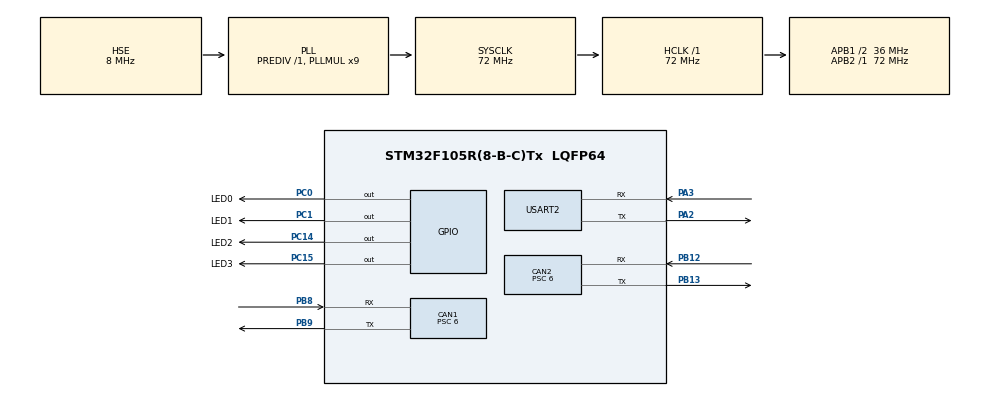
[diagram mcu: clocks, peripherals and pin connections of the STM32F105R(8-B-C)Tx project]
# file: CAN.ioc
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CAN1.BS1=CAN_BS1_3TQ
CAN1.BS2=CAN_BS2_2TQ
CAN1.CalculateTimeBit=1000
CAN1.CalculateTimeQuantum=166.66666666666669
CAN1.Prescaler=6
CAN2.BS1=CAN_BS1_3TQ
CAN2.BS2=CAN_BS2_2TQ
CAN2.CalculateTimeBit=1000
CAN2.CalculateTimeQuantum=166.66666666666669
CAN2.Prescaler=6
Mcu.Family=STM32F1
Mcu.Name=STM32F105R(8-B-C)Tx
Mcu.Package=LQFP64
NVIC.CAN1_RX0_IRQn=true\:0\:0\:false\:false\:true\:true\:true
NVIC.CAN1_RX1_IRQn=true\:0\:0\:false\:false\:true\:true\:true
NVIC.CAN1_SCE_IRQn=true\:0\:0\:false\:false\:true\:true\:true
NVIC.CAN1_TX_IRQn=true\:0\:0\:false\:false\:true\:true\:true
NVIC.CAN2_RX0_IRQn=true\:0\:0\:false\:false\:true\:true\:true
NVIC.CAN2_RX1_IRQn=true\:0\:0\:false\:false\:true\:true\:true
NVIC.CAN2_SCE_IRQn=true\:0\:0\:false\:false\:true\:true\:true
NVIC.CAN2_TX_IRQn=true\:0\:0\:false\:false\:true\:true\:true
NVIC.PriorityGroup=NVIC_PRIORITYGROUP_4
PA13.Mode=Serial_Wire
PA13.Signal=SYS_JTMS-SWDIO
PA14.Mode=Serial_Wire
PA14.Signal=SYS_JTCK-SWCLK
PA2.Mode=Asynchronous
PA2.Signal=USART2_TX
PA3.Mode=Asynchronous
PA3.Signal=USART2_RX
PB12.Mode=Slave
PB12.Signal=CAN2_RX
PB13.Mode=Slave
PB13.Signal=CAN2_TX
PB8.Mode=Master
PB8.Signal=CAN1_RX
PB9.Mode=Master
PB9.Signal=CAN1_TX
PC0.GPIO_Label=LED0
PC0.GPIO_ModeDefaultOutputPP=GPIO_MODE_OUTPUT_PP
PC0.GPIO_PuPd=GPIO_NOPULL
PC0.GPIO_Speed=GPIO_SPEED_FREQ_HIGH
PC0.PinState=GPIO_PIN_SET
PC0.Signal=GPIO_Output
PC1.GPIO_Label=LED1
PC1.GPIO_ModeDefaultOutputPP=GPIO_MODE_OUTPUT_PP
PC1.GPIO_PuPd=GPIO_NOPULL
PC1.GPIO_Speed=GPIO_SPEED_FREQ_HIGH
PC1.PinState=GPIO_PIN_SET
PC1.Signal=GPIO_Output
PC14-OSC32_IN.GPIO_Label=LED2
PC14-OSC32_IN.GPIO_Speed=GPIO_SPEED_FREQ_HIGH
PC14-OSC32_IN.PinState=GPIO_PIN_SET
PC14-OSC32_IN.Signal=GPIO_Output
PC15-OSC32_OUT.GPIO_Label=LED3
PC15-OSC32_OUT.GPIO_ModeDefaultOutputPP=GPIO_MODE_OUTPUT_PP
PC15-OSC32_OUT.GPIO_PuPd=GPIO_NOPULL
PC15-OSC32_OUT.GPIO_Speed=GPIO_SPEED_FREQ_HIGH
PC15-OSC32_OUT.PinState=GPIO_PIN_SET
PC15-OSC32_OUT.Signal=GPIO_Output
PD0-OSC_IN.Mode=HSE-External-Oscillator
PD0-OSC_IN.Signal=RCC_OSC_IN
PD1-OSC_OUT.Mode=HSE-External-Oscillator
PD1-OSC_OUT.Signal=RCC_OSC_OUT
ProjectManager.HeapSize=0x200
ProjectManager.StackSize=0x400
ProjectManager.TargetToolchain=MDK-ARM V5.27
RCC.AHBFreq_Value=72000000
RCC.APB1CLKDivider=RCC_HCLK_DIV2
RCC.APB1Freq_Value=36000000
RCC.APB1TimFreq_Value=72000000
RCC.APB2Freq_Value=72000000
RCC.APB2TimFreq_Value=72000000
RCC.HCLKFreq_Value=72000000
RCC.PLLMUL=RCC_PLL_MUL9
RCC.PLLSourceVirtual=RCC_PLLSOURCE_HSE
RCC.SYSCLKFreq_VALUE=72000000
RCC.SYSCLKSource=RCC_SYSCLKSOURCE_PLLCLK
RCC.USBFreq_Value=48000000
USART2.VirtualMode=VM_ASYNC
board=custom

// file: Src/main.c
/* USER CODE BEGIN Header */
/**
  ******************************************************************************
  * @file           : main.c
  * @brief          : Main program body
  ******************************************************************************
  * @attention
  *
  * <h2><center>&copy; Copyright (c) 2020 STMicroelectronics.
  * All rights reserved.</center></h2>
  *
  * This software component is licensed by ST under BSD 3-Clause license,
  * the "License"; You may not use this file except in compliance with the
  * License. You may obtain a copy of the License at:
  *                        opensource.org/licenses/BSD-3-Clause
  *
  ******************************************************************************
  */
/* USER CODE END Header */

#include "main.h"
#include "can.h"
#include "usart.h"
#include "gpio.h"

/* USER CODE BEGIN Includes */
#include <stdio.h>
/* USER CODE END Includes */

/* USER CODE BEGIN PV */

uint8_t buf[1024];
/* USER CODE END PV */

void SystemClock_Config(void);

/* USER CODE BEGIN 0 */
int fputc(int ch, FILE *f)
{
	HAL_UART_Transmit(&huart2, (uint8_t *)&ch, 1, 1000);
	return ch;
}

int fgetc(FILE *f)
{
	int ch = -1;
	HAL_UART_Receive(&huart2,(uint8_t *)&ch, sizeof(ch), 1000);
	return ch;
}

void Can_Send_Msg(uint8_t *msg, uint8_t len)
{
	CAN_TxHeaderTypeDef CAN_Header;
	uint16_t SendTimes, SendCNT=0;
	uint8_t FreeTxNum=0;

	CAN_Header.StdId = 0x12;
	CAN_Header.ExtId = 0x12;
	CAN_Header.IDE = CAN_ID_STD;
	CAN_Header.RTR = CAN_RTR_DATA;
	CAN_Header.DLC = 8;

	SendTimes=len/8+(len%8?1:0);
	FreeTxNum = HAL_CAN_GetTxMailboxesFreeLevel(&hcan1);

	while(SendTimes--)
	{
		if(0 == SendTimes)
		{
			if(len%8)
				CAN_Header.DLC=len%8;
		}
		while(0==FreeTxNum)
		{
			FreeTxNum = HAL_CAN_GetTxMailboxesFreeLevel(&hcan1);
		}
		HAL_Delay(1);
		if(HAL_CAN_AddTxMessage(&hcan1, &CAN_Header, msg, (uint32_t *)CAN_TX_MAILBOX0) != HAL_OK)
		{
			Error_Handler();
		}
		SendCNT+=8;
	}
}
void Can_Send_8BitMsg()
{
	CAN_TxHeaderTypeDef TxHeader;
	uint8_t TxData[8] = {0x23, 0x81, 0x60, 0x00, 0x55, 0x55, 0x08, 0x00};
	uint32_t TxMailbox;
	uint32_t std_id = 0x601;

	TxHeader.RTR = CAN_RTR_DATA;
	TxHeader.IDE = CAN_ID_STD;
	TxHeader.StdId=std_id;
	TxHeader.TransmitGlobalTime = DISABLE;
	TxHeader.DLC = 8;

	if (HAL_CAN_AddTxMessage(&hcan1, &TxHeader, TxData, &TxMailbox) != HAL_OK)
	{
		 /* Transmission request Error */
		 Error_Handler();
	}

}

void CAN_Filters_Init(void)
{
	CAN_FilterTypeDef CAN_FilterInit1;

	CAN_FilterInit1.FilterBank = 14;
	CAN_FilterInit1.FilterMode = CAN_FILTERMODE_IDMASK;
	CAN_FilterInit1.FilterScale = CAN_FILTERSCALE_32BIT;
	CAN_FilterInit1.FilterIdHigh = 0x0000;
	CAN_FilterInit1.FilterIdLow = 0x0000;
	CAN_FilterInit1.FilterMaskIdHigh = 0x0000;
	CAN_FilterInit1.FilterMaskIdLow = 0x0000;
	CAN_FilterInit1.FilterFIFOAssignment = CAN_RX_FIFO0;
	CAN_FilterInit1.FilterActivation = CAN_FILTER_ENABLE;

	CAN_FilterInit1.SlaveStartFilterBank=0;
	if(HAL_CAN_ConfigFilter(&hcan1, &CAN_FilterInit1) != HAL_OK)
	{
    Error_Handler();
	}

	if(HAL_CAN_Start(&hcan1) != HAL_OK)
	{
    Error_Handler();
	}

	if(HAL_CAN_ActivateNotification(&hcan1, CAN_IT_RX_FIFO0_MSG_PENDING) != HAL_OK)
	{
    Error_Handler();
	}

	CAN_FilterTypeDef CAN_FilterInit2;

	CAN_FilterInit2.FilterBank = 14;
	CAN_FilterInit2.FilterMode = CAN_FILTERMODE_IDMASK;
	CAN_FilterInit2.FilterScale = CAN_FILTERSCALE_32BIT;
	CAN_FilterInit2.FilterIdHigh = 0x0000;
	CAN_FilterInit2.FilterIdLow = 0x0000;
	CAN_FilterInit2.FilterMaskIdHigh = 0x0000;
	CAN_FilterInit2.FilterMaskIdLow = 0x0000;
	CAN_FilterInit2.FilterFIFOAssignment = CAN_RX_FIFO1;
	CAN_FilterInit2.FilterActivation = CAN_FILTER_ENABLE;

	CAN_FilterInit2.SlaveStartFilterBank=14;
	if(HAL_CAN_ConfigFilter(&hcan1, &CAN_FilterInit2) != HAL_OK)
	{
    Error_Handler();
	}

	if(HAL_CAN_Start(&hcan2) != HAL_OK)
	{
    Error_Handler();
	}

	if(HAL_CAN_ActivateNotification(&hcan2, CAN_IT_RX_FIFO1_MSG_PENDING) != HAL_OK)
	{
    Error_Handler();
	}

}

uint8_t Can_Receive_Msg(uint8_t *buf)
{
	CAN_RxHeaderTypeDef CAN_Header={0};

	if(HAL_CAN_GetRxMessage(&hcan1, CAN_RX_FIFO0, &CAN_Header, buf) != HAL_OK)
	{
		Error_Handler();
	}

	return CAN_Header.DLC;
}
/* USER CODE END 0 */

int main(void)
{

  /* MCU Configuration--------------------------------------------------------*/

  /* Reset of all peripherals, Initializes the Flash interface and the Systick. */
  HAL_Init();

  /* Configure the system clock */
  SystemClock_Config();

  /* Initialize all configured peripherals */
  MX_GPIO_Init();
  MX_CAN1_Init();
  MX_CAN2_Init();
  MX_USART2_UART_Init();
  /* USER CODE BEGIN 2 */

	printf("----------------send------------------\r\n");
	CAN_Filters_Init();
//	uint8_t strSend[]="HelloWorld!!!";

  /* USER CODE END 2 */

  /* Infinite loop */
  while (1)
  {

    /* USER CODE BEGIN 3 */
		//printf("Hello World!!!\n");
		Can_Send_8BitMsg();
		//Can_Send_Msg(strSend, sizeof(strSend));
		HAL_GPIO_TogglePin(LED0_GPIO_Port, LED0_Pin);
		HAL_Delay(200);
  }
  /* USER CODE END 3 */
}

void SystemClock_Config(void)
{
  RCC_OscInitTypeDef RCC_OscInitStruct = {0};
  RCC_ClkInitTypeDef RCC_ClkInitStruct = {0};

  /** Initializes the CPU, AHB and APB busses clocks
  */
  RCC_OscInitStruct.OscillatorType = RCC_OSCILLATORTYPE_HSE;
  RCC_OscInitStruct.HSEState = RCC_HSE_ON;
  RCC_OscInitStruct.HSEPredivValue = RCC_HSE_PREDIV_DIV1;
  RCC_OscInitStruct.HSIState = RCC_HSI_ON;
  RCC_OscInitStruct.Prediv1Source = RCC_PREDIV1_SOURCE_HSE;
  RCC_OscInitStruct.PLL.PLLState = RCC_PLL_ON;
  RCC_OscInitStruct.PLL.PLLSource = RCC_PLLSOURCE_HSE;
  RCC_OscInitStruct.PLL.PLLMUL = RCC_PLL_MUL9;
  RCC_OscInitStruct.PLL2.PLL2State = RCC_PLL_NONE;
  if (HAL_RCC_OscConfig(&RCC_OscInitStruct) != HAL_OK)
  {
    Error_Handler();
  }
  /** Initializes the CPU, AHB and APB busses clocks
  */
  RCC_ClkInitStruct.ClockType = RCC_CLOCKTYPE_HCLK|RCC_CLOCKTYPE_SYSCLK
                              |RCC_CLOCKTYPE_PCLK1|RCC_CLOCKTYPE_PCLK2;
  RCC_ClkInitStruct.SYSCLKSource = RCC_SYSCLKSOURCE_PLLCLK;
  RCC_ClkInitStruct.AHBCLKDivider = RCC_SYSCLK_DIV1;
  RCC_ClkInitStruct.APB1CLKDivider = RCC_HCLK_DIV2;
  RCC_ClkInitStruct.APB2CLKDivider = RCC_HCLK_DIV1;

  if (HAL_RCC_ClockConfig(&RCC_ClkInitStruct, FLASH_LATENCY_2) != HAL_OK)
  {
    Error_Handler();
  }
  /** Configure the Systick interrupt time
  */
  __HAL_RCC_PLLI2S_ENABLE();
}

/* USER CODE BEGIN 4 */

void HAL_CAN_RxFifo0MsgPendingCallback(CAN_HandleTypeDef *hcan)
{
	printf("xxxxxx===>HAL_CAN_RxFifo0MsgPendingCallback\n");
}
void HAL_CAN_RxFifo0FullCallback(CAN_HandleTypeDef *hcan)
{

	printf("xxxxxx===>HAL_CAN_RxFifo0FullCallback\n");
}
void HAL_CAN_RxFifo1FullCallback(CAN_HandleTypeDef *hcan)
{

	printf("xxxxxx===>HAL_CAN_RxFifo1FullCallback\n");
}
void HAL_CAN_RxFifo1MsgPendingCallback(CAN_HandleTypeDef *hcan)
{

	printf("xxxxxx===>HAL_CAN_RxFifo1MsgPendingCallback\n");
	if(hcan->Instance == hcan2.Instance)
	{
		CAN_RxHeaderTypeDef CAN_Header={0};
		uint8_t rData[8];
		HAL_CAN_GetRxMessage(&hcan2, CAN_RX_FIFO1, &CAN_Header, rData);
		printf("RxFifo:%s\n", rData);

		HAL_GPIO_TogglePin(LED3_GPIO_Port, LED3_Pin);
		HAL_Delay(200);
	//	HAL_CAN_ActivateNotification(hcan, CAN_IT_RX_FIFO1_MSG_PENDING);
	}
}
/* USER CODE END 4 */

void Error_Handler(void)
{
}

/************************ (C) COPYRIGHT STMicroelectronics *****END OF FILE****/
